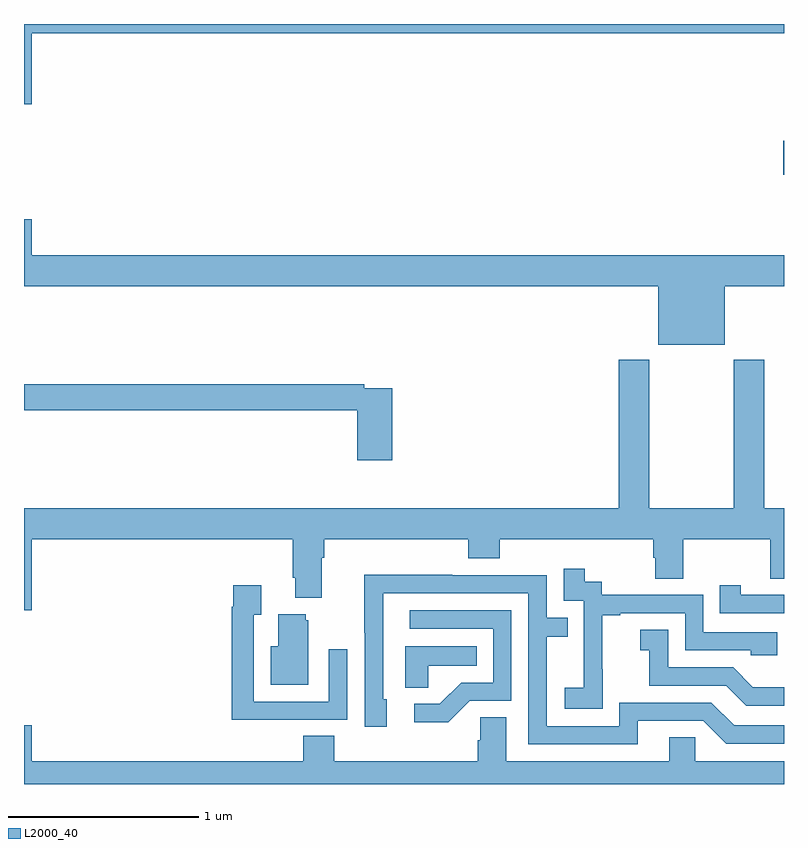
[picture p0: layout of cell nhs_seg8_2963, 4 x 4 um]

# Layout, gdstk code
import gdstk
lib = gdstk.Library(unit=1e-6, precision=1e-09)
def R(c, l, rs):  # rectangles x0, y0, x1, y1
    for r in rs: c.add(gdstk.rectangle(r[:2], r[2:], *l))
def P(c, l, *ps):  # polygons
    for p in ps: c.add(gdstk.Polygon(p, *l))
L2000_40 = (2000, 40)

nhs_seg8_2963 = lib.new_cell('nhs_seg8_2963')
R(nhs_seg8_2963, L2000_40, [(300.996,1097.107,301,1097.285)])
P(nhs_seg8_2963, L2000_40, [(297.04,1097.852),(301,1097.852),(301,1097.9),(297,1097.9),(297,1097.478),(297.04,1097.478)],
  [(300.688,1096.52),(301,1096.52),(301,1096.684),(297.04,1096.684),(297.04,1096.873),(297,1096.873),(297,1096.52),(300.338,1096.52),(300.338,1096.211),(300.688,1096.211)],
  [(297.04,1095.188),(298.415,1095.188),(298.415,1094.986),(298.427,1094.986),(298.427,1094.879),(298.567,1094.879),(298.567,1095.092),(298.58,1095.092),(298.58,1095.188),(299.339,1095.188),(299.339,1095.089),(299.504,1095.089),(299.504,1095.188),(300.311,1095.188),(300.311,1095.09),(300.323,1095.09),(300.323,1094.98),(300.471,1094.98),(300.471,1095.188),(300.928,1095.188),(300.928,1094.98),(301,1094.98),(301,1095.352),(300.896,1095.352),(300.896,1096.132),(300.736,1096.132),(300.736,1095.352),(300.291,1095.352),(300.291,1096.132),(300.131,1096.132),(300.131,1095.352),(297,1095.352),(297,1094.814),(297.04,1094.814)],
  [(298.937,1095.984),(298.79,1095.984),(298.79,1096.004),(297,1096.004),(297,1095.868),(298.754,1095.868),(298.754,1095.603),(298.937,1095.603)],
  [(300.045,1094.503),(300.044,1094.503),(300.044,1094.787),(300.139,1094.787),(300.139,1094.799),(300.48,1094.799),(300.48,1094.604),(300.825,1094.604),(300.825,1094.577),(300.965,1094.577),(300.965,1094.7),(300.576,1094.7),(300.576,1094.895),(300.042,1094.895),(300.042,1094.964),(299.95,1094.964),(299.95,1095.034),(299.841,1095.034),(299.841,1094.865),(299.946,1094.865),(299.946,1094.636),(299.945,1094.636),(299.945,1094.407),(299.847,1094.407),(299.847,1094.297),(300.045,1094.297)],
  [(300.229,1094.232),(300.576,1094.232),(300.696,1094.112),(301,1094.112),(301,1094.208),(300.738,1094.208),(300.618,1094.328),(300.132,1094.328),(300.132,1094.205),(299.751,1094.205),(299.751,1094.674),(299.861,1094.674),(299.861,1094.775),(299.751,1094.775),(299.751,1095),(299.255,1095),(299.255,1095.002),(298.792,1095.002),(298.792,1094.695),(298.794,1094.695),(298.794,1094.202),(298.909,1094.202),(298.909,1094.346),(298.89,1094.346),(298.89,1094.904),(299.655,1094.904),(299.655,1094.109),(300.229,1094.109)],
  [(301,1094.895),(300.772,1094.895),(300.772,1094.947),(300.661,1094.947),(300.661,1094.799),(301,1094.799)],
  [(298.385,1094.238),(298.701,1094.238),(298.701,1094.608),(298.605,1094.608),(298.605,1094.334),(298.209,1094.334),(298.209,1094.791),(298.249,1094.791),(298.249,1094.947),(298.101,1094.947),(298.101,1094.834),(298.093,1094.834),(298.093,1094.237),(298.385,1094.237)],
  [(299.346,1094.337),(299.565,1094.337),(299.565,1094.814),(299.031,1094.814),(299.031,1094.718),(299.469,1094.718),(299.469,1094.433),(299.3,1094.433),(299.189,1094.322),(299.055,1094.322),(299.055,1094.225),(299.233,1094.225)],
  [(298.495,1094.763),(298.484,1094.763),(298.484,1094.794),(298.337,1094.794),(298.337,1094.626),(298.298,1094.626),(298.298,1094.423),(298.495,1094.423)],
  [(301,1094.41),(300.836,1094.41),(300.732,1094.514),(300.39,1094.514),(300.39,1094.713),(300.243,1094.713),(300.243,1094.603),(300.292,1094.603),(300.292,1094.418),(300.695,1094.418),(300.8,1094.313),(301,1094.313)],
  [(299.127,1094.522),(299.384,1094.522),(299.384,1094.626),(299.006,1094.626),(299.006,1094.407),(299.127,1094.407)],
  [(301,1094.02),(300.534,1094.02),(300.534,1094.147),(300.395,1094.147),(300.395,1094.02),(299.539,1094.02),(299.539,1094.252),(299.4,1094.252),(299.4,1094.129),(299.387,1094.129),(299.387,1094.02),(298.634,1094.02),(298.634,1094.153),(298.469,1094.153),(298.469,1094.02),(297.04,1094.02),(297.04,1094.209),(297,1094.209),(297,1093.9),(301,1093.9)])

lib.write_gds('nhs_seg8_2963.gds')
